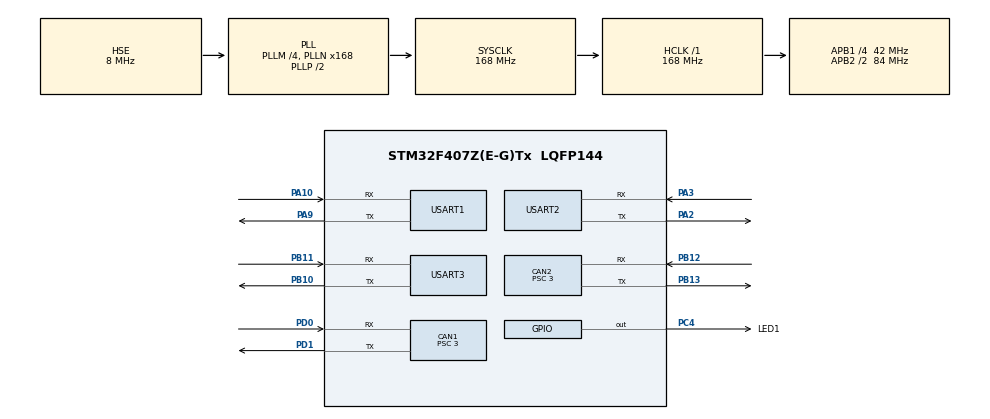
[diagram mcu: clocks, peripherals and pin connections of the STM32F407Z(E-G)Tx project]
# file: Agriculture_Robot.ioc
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CAN1.ABOM=ENABLE
CAN1.BS1=CAN_BS1_9TQ
CAN1.BS2=CAN_BS2_4TQ
CAN1.CalculateBaudRate=1000000
CAN1.CalculateTimeBit=1000
CAN1.CalculateTimeQuantum=71.42857142857143
CAN1.Prescaler=3
CAN1.TXFP=ENABLE
CAN2.ABOM=ENABLE
CAN2.BS1=CAN_BS1_9TQ
CAN2.BS2=CAN_BS2_4TQ
CAN2.CalculateBaudRate=1000000
CAN2.CalculateTimeBit=1000
CAN2.CalculateTimeQuantum=71.42857142857143
CAN2.Prescaler=3
CAN2.TXFP=ENABLE
Dma.Request0=USART1_RX
Dma.Request1=USART1_TX
Dma.Request2=USART3_RX
Dma.Request3=USART3_TX
Dma.USART1_RX.0.Direction=DMA_PERIPH_TO_MEMORY
Dma.USART1_RX.0.FIFOMode=DMA_FIFOMODE_DISABLE
Dma.USART1_RX.0.Instance=DMA2_Stream2
Dma.USART1_RX.0.MemDataAlignment=DMA_MDATAALIGN_BYTE
Dma.USART1_RX.0.MemInc=DMA_MINC_ENABLE
Dma.USART1_RX.0.Mode=DMA_CIRCULAR
Dma.USART1_RX.0.PeriphDataAlignment=DMA_PDATAALIGN_BYTE
Dma.USART1_RX.0.PeriphInc=DMA_PINC_DISABLE
Dma.USART1_RX.0.Priority=DMA_PRIORITY_LOW
Dma.USART1_TX.1.Direction=DMA_MEMORY_TO_PERIPH
Dma.USART1_TX.1.FIFOMode=DMA_FIFOMODE_DISABLE
Dma.USART1_TX.1.Instance=DMA2_Stream7
Dma.USART1_TX.1.MemDataAlignment=DMA_MDATAALIGN_BYTE
Dma.USART1_TX.1.MemInc=DMA_MINC_ENABLE
Dma.USART1_TX.1.Mode=DMA_NORMAL
Dma.USART1_TX.1.PeriphDataAlignment=DMA_PDATAALIGN_BYTE
Dma.USART1_TX.1.PeriphInc=DMA_PINC_DISABLE
Dma.USART1_TX.1.Priority=DMA_PRIORITY_LOW
Dma.USART3_RX.2.Direction=DMA_PERIPH_TO_MEMORY
Dma.USART3_RX.2.FIFOMode=DMA_FIFOMODE_DISABLE
Dma.USART3_RX.2.Instance=DMA1_Stream1
Dma.USART3_RX.2.MemDataAlignment=DMA_MDATAALIGN_BYTE
Dma.USART3_RX.2.MemInc=DMA_MINC_ENABLE
Dma.USART3_RX.2.Mode=DMA_CIRCULAR
Dma.USART3_RX.2.PeriphDataAlignment=DMA_PDATAALIGN_BYTE
Dma.USART3_RX.2.PeriphInc=DMA_PINC_DISABLE
Dma.USART3_RX.2.Priority=DMA_PRIORITY_LOW
Dma.USART3_TX.3.Direction=DMA_MEMORY_TO_PERIPH
Dma.USART3_TX.3.FIFOMode=DMA_FIFOMODE_DISABLE
Dma.USART3_TX.3.Instance=DMA1_Stream3
Dma.USART3_TX.3.MemDataAlignment=DMA_MDATAALIGN_BYTE
Dma.USART3_TX.3.MemInc=DMA_MINC_ENABLE
Dma.USART3_TX.3.Mode=DMA_NORMAL
Dma.USART3_TX.3.PeriphDataAlignment=DMA_PDATAALIGN_BYTE
Dma.USART3_TX.3.PeriphInc=DMA_PINC_DISABLE
Dma.USART3_TX.3.Priority=DMA_PRIORITY_LOW
FREERTOS.BinarySemaphores01=uart3Semaphores,Dynamic,NULL
FREERTOS.Tasks01=defaultTask,24,128,StartDefaultTask,Default,NULL,Dynamic,NULL,NULL;imuDataRead,8,128,StartImuDataRead,Default,NULL,Dynamic,NULL,NULL
FREERTOS.configUSE_STATS_FORMATTING_FUNCTIONS=1
Mcu.Family=STM32F4
Mcu.Name=STM32F407Z(E-G)Tx
Mcu.Package=LQFP144
NVIC.CAN1_RX0_IRQn=true\:5\:0\:false\:false\:true\:true\:true\:true\:true
NVIC.CAN1_RX1_IRQn=true\:5\:0\:false\:false\:true\:true\:true\:true\:true
NVIC.CAN1_TX_IRQn=true\:5\:0\:false\:false\:true\:true\:true\:true\:true
NVIC.CAN2_RX0_IRQn=true\:5\:0\:false\:false\:true\:true\:true\:true\:true
NVIC.CAN2_RX1_IRQn=true\:5\:0\:false\:false\:true\:true\:true\:true\:true
NVIC.CAN2_TX_IRQn=true\:5\:0\:false\:false\:true\:true\:true\:true\:true
NVIC.DMA1_Stream1_IRQn=true\:5\:0\:false\:false\:true\:true\:false\:true\:true
NVIC.DMA1_Stream3_IRQn=true\:5\:0\:false\:false\:true\:true\:false\:true\:true
NVIC.DMA2_Stream2_IRQn=true\:5\:0\:false\:false\:true\:true\:false\:true\:true
NVIC.DMA2_Stream7_IRQn=true\:5\:0\:false\:false\:true\:true\:false\:true\:true
NVIC.PriorityGroup=NVIC_PRIORITYGROUP_4
NVIC.TIM1_BRK_TIM9_IRQn=true\:5\:0\:false\:false\:true\:true\:true\:true\:true
NVIC.TIM1_CC_IRQn=true\:5\:0\:false\:false\:true\:true\:true\:true\:true
NVIC.TIM1_TRG_COM_TIM11_IRQn=true\:5\:0\:false\:false\:true\:true\:true\:true\:true
NVIC.TIM1_UP_TIM10_IRQn=true\:5\:0\:false\:false\:true\:true\:true\:true\:true
NVIC.TIM6_DAC_IRQn=true\:15\:0\:false\:false\:true\:false\:false\:true\:true
NVIC.TimeBase=TIM6_DAC_IRQn
NVIC.TimeBaseIP=TIM6
NVIC.USART1_IRQn=true\:5\:0\:false\:false\:true\:true\:true\:true\:true
NVIC.USART2_IRQn=true\:5\:0\:false\:false\:true\:true\:true\:true\:true
NVIC.USART3_IRQn=true\:5\:0\:false\:false\:true\:true\:true\:true\:true
PA10.Mode=Asynchronous
PA10.Signal=USART1_RX
PA13.Mode=Serial_Wire
PA13.Signal=SYS_JTMS-SWDIO
PA14.Mode=Serial_Wire
PA14.Signal=SYS_JTCK-SWCLK
PA2.Mode=Asynchronous
PA2.Signal=USART2_TX
PA3.Mode=Asynchronous
PA3.Signal=USART2_RX
PA9.Mode=Asynchronous
PA9.Signal=USART1_TX
PB10.Mode=Asynchronous
PB10.Signal=USART3_TX
PB11.Mode=Asynchronous
PB11.Signal=USART3_RX
PB12.Mode=CAN_Activate
PB12.Signal=CAN2_RX
PB13.Mode=CAN_Activate
PB13.Signal=CAN2_TX
PC4.GPIO_Label=LED1
PC4.Signal=GPIO_Output
PD0.Mode=CAN_Activate
PD0.Signal=CAN1_RX
PD1.Mode=CAN_Activate
PD1.Signal=CAN1_TX
PH0-OSC_IN.Mode=HSE-External-Oscillator
PH0-OSC_IN.Signal=RCC_OSC_IN
PH1-OSC_OUT.Mode=HSE-External-Oscillator
PH1-OSC_OUT.Signal=RCC_OSC_OUT
ProjectManager.HeapSize=0x200
ProjectManager.StackSize=0x400
ProjectManager.TargetToolchain=STM32CubeIDE
RCC.48MHZClocksFreq_Value=84000000
RCC.AHBFreq_Value=168000000
RCC.APB1CLKDivider=RCC_HCLK_DIV4
RCC.APB1Freq_Value=42000000
RCC.APB1TimFreq_Value=84000000
RCC.APB2CLKDivider=RCC_HCLK_DIV2
RCC.APB2Freq_Value=84000000
RCC.APB2TimFreq_Value=168000000
RCC.CortexFreq_Value=168000000
RCC.HCLKFreq_Value=168000000
RCC.HSE_VALUE=8000000
RCC.HSI_VALUE=16000000
RCC.LSE_VALUE=32768
RCC.PLLM=4
RCC.PLLN=168
RCC.PLLSourceVirtual=RCC_PLLSOURCE_HSE
RCC.SYSCLKFreq_VALUE=168000000
RCC.SYSCLKSource=RCC_SYSCLKSOURCE_PLLCLK
RCC.VCOOutputFreq_Value=336000000
TIM1.Period=199
TIM1.Prescaler=1679
USART1.VirtualMode=VM_ASYNC
USART2.VirtualMode=VM_ASYNC
USART3.VirtualMode=VM_ASYNC
VP_FREERTOS_VS_CMSIS_V2.Mode=CMSIS_V2
VP_SYS_VS_tim6.Mode=TIM6
VP_TIM1_VS_ClockSourceINT.Mode=Internal
board=custom

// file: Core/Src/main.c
/* USER CODE BEGIN Header */
/**
  ******************************************************************************
  * @file           : main.c
  * @brief          : Main program body
  ******************************************************************************
  * @attention
  *
  * Copyright (c) 2023 STMicroelectronics.
  * All rights reserved.
  *
  * This software is licensed under terms that can be found in the LICENSE file
  * in the root directory of this software component.
  * If no LICENSE file comes with this software, it is provided AS-IS.
  *
  ******************************************************************************
  */
#ifdef __cplusplus
extern "C"{
#endif
/* USER CODE END Header */
#include "main.h"
#include "cmsis_os.h"
#include "can.h"
#include "dma.h"
#include "tim.h"
#include "usart.h"
#include "gpio.h"

/* USER CODE BEGIN Includes */
#ifdef __cplusplus
}
#endif
/* USER CODE END Includes */

/* USER CODE BEGIN PV */
#ifdef __cplusplus
extern "C"{
#endif
/* USER CODE END PV */

void SystemClock_Config(void);
void MX_FREERTOS_Init(void);
/* USER CODE BEGIN PFP */
#ifdef __cplusplus
}
#endif
/* USER CODE END PFP */

int main(void)
{

  /* MCU Configuration--------------------------------------------------------*/

  /* Reset of all peripherals, Initializes the Flash interface and the Systick. */
  HAL_Init();

  /* Configure the system clock */
  SystemClock_Config();

  /* Initialize all configured peripherals */
  MX_GPIO_Init();
  MX_DMA_Init();
  MX_CAN1_Init();
  MX_USART1_UART_Init();
  MX_TIM1_Init();
  MX_CAN2_Init();
  MX_USART2_UART_Init();
  MX_USART3_UART_Init();

  /* Init scheduler */
  osKernelInitialize();  /* Call init function for freertos objects (in freertos.c) */
  MX_FREERTOS_Init();

  /* Start scheduler */
  osKernelStart();

  /* We should never get here as control is now taken by the scheduler */
  /* Infinite loop */
  while (1)
  {

  }
}

void SystemClock_Config(void)
{
  RCC_OscInitTypeDef RCC_OscInitStruct = {0};
  RCC_ClkInitTypeDef RCC_ClkInitStruct = {0};

  /** Configure the main internal regulator output voltage
  */
  __HAL_RCC_PWR_CLK_ENABLE();
  __HAL_PWR_VOLTAGESCALING_CONFIG(PWR_REGULATOR_VOLTAGE_SCALE1);

  /** Initializes the RCC Oscillators according to the specified parameters
  * in the RCC_OscInitTypeDef structure.
  */
  RCC_OscInitStruct.OscillatorType = RCC_OSCILLATORTYPE_HSE;
  RCC_OscInitStruct.HSEState = RCC_HSE_ON;
  RCC_OscInitStruct.PLL.PLLState = RCC_PLL_ON;
  RCC_OscInitStruct.PLL.PLLSource = RCC_PLLSOURCE_HSE;
  RCC_OscInitStruct.PLL.PLLM = 4;
  RCC_OscInitStruct.PLL.PLLN = 168;
  RCC_OscInitStruct.PLL.PLLP = RCC_PLLP_DIV2;
  RCC_OscInitStruct.PLL.PLLQ = 4;
  if (HAL_RCC_OscConfig(&RCC_OscInitStruct) != HAL_OK)
  {
    Error_Handler();
  }

  /** Initializes the CPU, AHB and APB buses clocks
  */
  RCC_ClkInitStruct.ClockType = RCC_CLOCKTYPE_HCLK|RCC_CLOCKTYPE_SYSCLK
                              |RCC_CLOCKTYPE_PCLK1|RCC_CLOCKTYPE_PCLK2;
  RCC_ClkInitStruct.SYSCLKSource = RCC_SYSCLKSOURCE_PLLCLK;
  RCC_ClkInitStruct.AHBCLKDivider = RCC_SYSCLK_DIV1;
  RCC_ClkInitStruct.APB1CLKDivider = RCC_HCLK_DIV4;
  RCC_ClkInitStruct.APB2CLKDivider = RCC_HCLK_DIV2;

  if (HAL_RCC_ClockConfig(&RCC_ClkInitStruct, FLASH_LATENCY_5) != HAL_OK)
  {
    Error_Handler();
  }
}

void HAL_TIM_PeriodElapsedCallback(TIM_HandleTypeDef *htim)
{
  if (htim->Instance == TIM6) {
    HAL_IncTick();
  }
}

void Error_Handler(void)
{
  __disable_irq();
  while (1)
  {
  }
}

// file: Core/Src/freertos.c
/* USER CODE BEGIN Header */
/**
  ******************************************************************************
  * File Name          : freertos.c
  * Description        : Code for freertos applications
  ******************************************************************************
  * @attention
  *
  * Copyright (c) 2023 STMicroelectronics.
  * All rights reserved.
  *
  * This software is licensed under terms that can be found in the LICENSE file
  * in the root directory of this software component.
  * If no LICENSE file comes with this software, it is provided AS-IS.
  *
  ******************************************************************************
  */
#ifdef __cplusplus
extern "C" {
#endif
/* USER CODE END Header */

#include "FreeRTOS.h"
#include "task.h"
#include "main.h"
#include "cmsis_os.h"

/* USER CODE BEGIN Includes */
#ifdef __cplusplus
};
#endif

#define LOG_TAG    "defTask"

#ifdef __cplusplus
extern "C"{
#endif

#include "oslib.h"
#include "wheeltec_N100.h"

#ifdef __cplusplus
}
#endif
#include "ChassisLib_CXX/rubberwheel_chassis.h"
#include "ChassisLib_CXX/ctrlGo2Point.h"
#include <cstring>
/* USER CODE END Includes */

/* USER CODE BEGIN Variables */
extern IMUData_Packet_t IMUData_Packet;
extern AHRSData_Packet_t AHRSData_Packet;
/* USER CODE END Variables */
/* Definitions for defaultTask */
osThreadId_t defaultTaskHandle;
const osThreadAttr_t defaultTask_attributes = {
  .name = "defaultTask",
  .stack_size = 128 * 4,
  .priority = (osPriority_t) osPriorityNormal,
};
/* Definitions for imuDataRead */
osThreadId_t imuDataReadHandle;
const osThreadAttr_t imuDataRead_attributes = {
  .name = "imuDataRead",
  .stack_size = 128 * 4,
  .priority = (osPriority_t) osPriorityLow,
};
/* Definitions for uart3Semaphores */
osSemaphoreId_t uart3SemaphoresHandle;
const osSemaphoreAttr_t uart3Semaphores_attributes = {
  .name = "uart3Semaphores"
};

/* USER CODE BEGIN FunctionPrototypes */
#ifdef __cplusplus
extern "C"{
#endif
/* USER CODE END FunctionPrototypes */

void StartDefaultTask(void *argument);
void StartImuDataRead(void *argument);

void MX_FREERTOS_Init(void); /* (MISRA C 2004 rule 8.1) */

void MX_FREERTOS_Init(void) {
  /* USER CODE BEGIN Init */
    OSLIB_Init();
  /* USER CODE END Init */

  /* Create the semaphores(s) */
  /* creation of uart3Semaphores */
  uart3SemaphoresHandle = osSemaphoreNew(1, 1, &uart3Semaphores_attributes);

  /* Create the thread(s) */
  /* creation of defaultTask */
  defaultTaskHandle = osThreadNew(StartDefaultTask, NULL, &defaultTask_attributes);

  /* creation of imuDataRead */
  imuDataReadHandle = osThreadNew(StartImuDataRead, NULL, &imuDataRead_attributes);

}

void StartDefaultTask(void *argument)
{
  /* USER CODE BEGIN StartDefaultTask */
//    rubberWheel_chassis *chassis = new rubberWheel_chassis();
//    chassis->ChassisInit();
//    Go2Point *p = new Go2Point(chassis);
//  p->SetTarget(Point2D_s{2,2},)
    /* Infinite loop */
    for(;;)
    {
//        chassis->ChassisCtrlVel(1);
//      chassis->ChassisCtrlRot(1);
        HAL_GPIO_TogglePin(LED1_GPIO_Port,LED1_Pin);
        osDelay(500);
    }
  /* USER CODE END StartDefaultTask */
}

void StartImuDataRead(void *argument)
{
  /* USER CODE BEGIN StartImuDataRead */
    OSLIB_UART_Handle_t *uart_handle = OSLIB_UART_Handle_Get(&huart2);
    uint8_t FD_Data[80],cnt=0;
    uint32_t IMUlastStamp=0,AHRSlastStamp=0;
    /* Infinite loop */
    for(;;)
    {
        cnt=0;
        osMessageQueueGet(uart_handle->rx.it.rx_queue,FD_Data+cnt,NULL,osWaitForever);
        while (FD_Data[0]!=FRAME_HEAD) osMessageQueueGet(uart_handle->rx.it.rx_queue,FD_Data+cnt,NULL,osWaitForever);
        cnt=1;
        for (;;)
        {
            osMessageQueueGet(uart_handle->rx.it.rx_queue, FD_Data + cnt, NULL, osWaitForever);
            if (FD_Data[cnt] == FRAME_END && FD_Data[0] == FRAME_HEAD)
            {
                if (FD_Data[1] == TYPE_IMU)
                {
                    uint8_t tag = TTL_Hex2Dec(FD_Data, IMU_TYPE);
                    if (tag==1 && IMUData_Packet.Timestamp - IMUlastStamp >= 5000000)
                    {
                        uprintf("accelerometer_x : %f\n", IMUData_Packet.accelerometer_x);
                        uprintf("accelerometer_y : %f\n", IMUData_Packet.accelerometer_y);
                        uprintf("accelerometer_z : %f\n", IMUData_Packet.accelerometer_z);
                        IMUlastStamp = IMUData_Packet.Timestamp;
                    }
                }
                else if (FD_Data[1] == TYPE_AHRS)
                {
                    uint8_t tag = TTL_Hex2Dec(FD_Data, AHRS_TYPE);
                    if (tag==1 && AHRSData_Packet.Timestamp - AHRSlastStamp >= 5000000)
                    {
                        uprintf("Roll    : %f\n", AHRSData_Packet.Roll);
                        uprintf("Pitch   : %f\n", AHRSData_Packet.Pitch);
                        uprintf("Heading : %f\n", AHRSData_Packet.Heading);
                        AHRSlastStamp = AHRSData_Packet.Timestamp;
                    }
                }
                memset(FD_Data,0,sizeof(FD_Data));
                break;
            }
            cnt++;
        }
    }
  /* USER CODE END StartImuDataRead */
}

/* USER CODE BEGIN Application */
#ifdef __cplusplus
}
#endif
/* USER CODE END Application */
